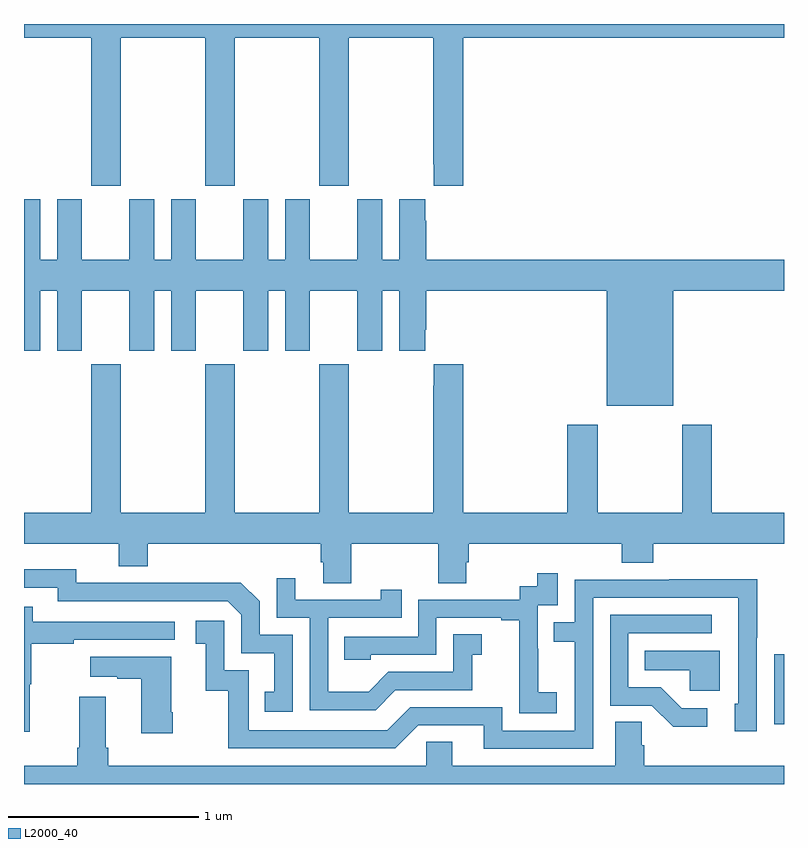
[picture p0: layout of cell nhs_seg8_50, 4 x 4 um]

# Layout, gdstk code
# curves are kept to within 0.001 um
import gdstk
lib = gdstk.Library(unit=1e-6, precision=1e-09)
def R(c, l, rs):  # rectangles x0, y0, x1, y1
    for r in rs: c.add(gdstk.rectangle(r[:2], r[2:], *l))
def P(c, l, *ps):  # polygons
    for p in ps: c.add(gdstk.Polygon(p, *l))
L2000_40 = (2000, 40)

nhs_seg8_50 = lib.new_cell('nhs_seg8_50')
R(nhs_seg8_50, L2000_40, [(116.949,1118.214,117,1118.584)])
P(nhs_seg8_50, L2000_40, [(113.508,1121.828),(113.953,1121.828),(113.953,1121.049),(114.108,1121.049),(114.108,1121.828),(114.553,1121.828),(114.553,1121.049),(114.708,1121.049),(114.708,1121.828),(115.153,1121.828),(115.153,1121.161),(115.157,1121.161),(115.157,1121.049),(115.313,1121.049),(115.313,1121.828),(117,1121.828),(117,1121.9),(113,1121.9),(113,1121.828),(113.353,1121.828),(113.353,1121.049),(113.508,1121.049)],
  [(116.416,1120.496),(117,1120.496),(117,1120.66),(115.118,1120.66),(115.118,1120.865),(115.111,1120.865),(115.111,1120.978),(114.974,1120.978),(114.974,1120.66),(114.886,1120.66),(114.886,1120.978),(114.755,1120.978),(114.755,1120.66),(114.505,1120.66),(114.505,1120.978),(114.374,1120.978),(114.374,1120.66),(114.286,1120.66),(114.286,1120.978),(114.155,1120.978),(114.155,1120.66),(113.905,1120.66),(113.905,1120.978),(113.774,1120.978),(113.774,1120.66),(113.686,1120.66),(113.686,1120.978),(113.555,1120.978),(113.555,1120.66),(113.305,1120.66),(113.305,1120.978),(113.174,1120.978),(113.174,1120.66),(113.086,1120.66),(113.086,1120.978),(113,1120.978),(113,1120.179),(113.086,1120.179),(113.086,1120.496),(113.174,1120.496),(113.174,1120.179),(113.305,1120.179),(113.305,1120.496),(113.555,1120.496),(113.555,1120.179),(113.686,1120.179),(113.686,1120.496),(113.774,1120.496),(113.774,1120.179),(113.905,1120.179),(113.905,1120.496),(114.155,1120.496),(114.155,1120.179),(114.286,1120.179),(114.286,1120.496),(114.374,1120.496),(114.374,1120.179),(114.505,1120.179),(114.505,1120.496),(114.755,1120.496),(114.755,1120.179),(114.886,1120.179),(114.886,1120.496),(114.974,1120.496),(114.974,1120.179),(115.111,1120.179),(115.111,1120.291),(115.118,1120.291),(115.118,1120.496),(116.066,1120.496),(116.066,1119.89),(116.416,1119.89)],
  [(114.723,1119.164),(115.18,1119.164),(115.18,1118.956),(115.327,1118.956),(115.327,1119.066),(115.34,1119.066),(115.34,1119.164),(116.147,1119.164),(116.147,1119.065),(116.312,1119.065),(116.312,1119.164),(117,1119.164),(117,1119.328),(116.619,1119.328),(116.619,1119.79),(116.464,1119.79),(116.464,1119.328),(116.019,1119.328),(116.019,1119.79),(115.859,1119.79),(115.859,1119.328),(115.313,1119.328),(115.313,1120.108),(115.157,1120.108),(115.157,1119.995),(115.153,1119.995),(115.153,1119.328),(114.708,1119.328),(114.708,1120.108),(114.553,1120.108),(114.553,1119.328),(114.108,1119.328),(114.108,1120.108),(113.953,1120.108),(113.953,1119.328),(113.508,1119.328),(113.508,1120.108),(113.353,1120.108),(113.353,1119.328),(113,1119.328),(113,1119.164),(113.498,1119.164),(113.498,1119.047),(113.651,1119.047),(113.651,1119.164),(114.563,1119.164),(114.563,1119.066),(114.575,1119.066),(114.575,1118.956),(114.723,1118.956)],
  [(114.414,1118.685),(114.24,1118.685),(114.24,1118.862),(114.142,1118.96),(113.734,1118.96),(113.734,1118.958),(113.274,1118.958),(113.274,1119.031),(113,1119.031),(113,1118.934),(113.178,1118.934),(113.178,1118.862),(114.072,1118.862),(114.144,1118.79),(114.144,1118.589),(114.317,1118.589),(114.317,1118.385),(114.268,1118.385),(114.268,1118.28),(114.414,1118.28)],
  [(115.804,1118.383),(115.706,1118.383),(115.706,1118.612),(115.704,1118.612),(115.704,1118.841),(115.809,1118.841),(115.809,1119.01),(115.701,1119.01),(115.701,1118.94),(115.608,1118.94),(115.608,1118.871),(115.074,1118.871),(115.074,1118.676),(114.685,1118.676),(114.685,1118.553),(114.825,1118.553),(114.825,1118.58),(115.17,1118.58),(115.17,1118.775),(115.511,1118.775),(115.511,1118.763),(115.607,1118.763),(115.607,1118.479),(115.606,1118.479),(115.606,1118.273),(115.804,1118.273)],
  [(114.955,1118.394),(115.359,1118.394),(115.359,1118.579),(115.408,1118.579),(115.408,1118.689),(115.26,1118.689),(115.26,1118.49),(114.918,1118.49),(114.814,1118.386),(114.6,1118.386),(114.6,1118.775),(114.989,1118.775),(114.989,1118.923),(114.878,1118.923),(114.878,1118.871),(114.427,1118.871),(114.427,1118.983),(114.33,1118.983),(114.33,1118.775),(114.504,1118.775),(114.504,1118.289),(114.85,1118.289)],
  [(115.995,1118.88),(116.759,1118.88),(116.76,1118.322),(116.741,1118.322),(116.741,1118.178),(116.856,1118.178),(116.856,1118.671),(116.859,1118.671),(116.859,1118.978),(116.395,1118.978),(116.395,1118.976),(115.899,1118.976),(115.899,1118.751),(115.789,1118.751),(115.789,1118.65),(115.899,1118.65),(115.899,1118.181),(115.518,1118.181),(115.518,1118.304),(115.032,1118.304),(114.912,1118.184),(114.183,1118.184),(114.183,1118.499),(114.054,1118.499),(114.054,1118.758),(113.904,1118.758),(113.904,1118.637),(113.957,1118.637),(113.957,1118.391),(114.075,1118.391),(114.075,1118.088),(114.954,1118.088),(115.074,1118.208),(115.421,1118.208),(115.421,1118.085),(115.995,1118.085)],
  [(113.03,1118.424),(113.038,1118.424),(113.038,1118.638),(113.261,1118.638),(113.261,1118.658),(113.794,1118.658),(113.794,1118.754),(113.045,1118.754),(113.045,1118.833),(113,1118.833),(113,1118.175),(113.03,1118.175)],
  [(116.596,1118.298),(116.461,1118.298),(116.35,1118.409),(116.181,1118.409),(116.181,1118.694),(116.62,1118.694),(116.62,1118.79),(116.085,1118.79),(116.085,1118.313),(116.304,1118.313),(116.417,1118.201),(116.596,1118.201)],
  [(116.662,1118.602),(116.266,1118.602),(116.266,1118.498),(116.505,1118.498),(116.505,1118.39),(116.662,1118.39)],
  [(113.784,1118.278),(113.776,1118.278),(113.776,1118.569),(113.349,1118.569),(113.349,1118.465),(113.492,1118.465),(113.492,1118.455),(113.618,1118.455),(113.618,1118.166),(113.784,1118.166)],
  [(117,1117.996),(116.264,1117.996),(116.264,1118.105),(116.25,1118.105),(116.25,1118.228),(116.111,1118.228),(116.111,1117.996),(115.255,1117.996),(115.255,1118.123),(115.116,1118.123),(115.116,1117.996),(113.444,1117.996),(113.444,1118.092),(113.431,1118.092),(113.431,1118.359),(113.291,1118.359),(113.291,1118.092),(113.279,1118.092),(113.279,1117.996),(113,1117.996),(113,1117.9),(117,1117.9)])

lib.write_gds('nhs_seg8_50.gds')
